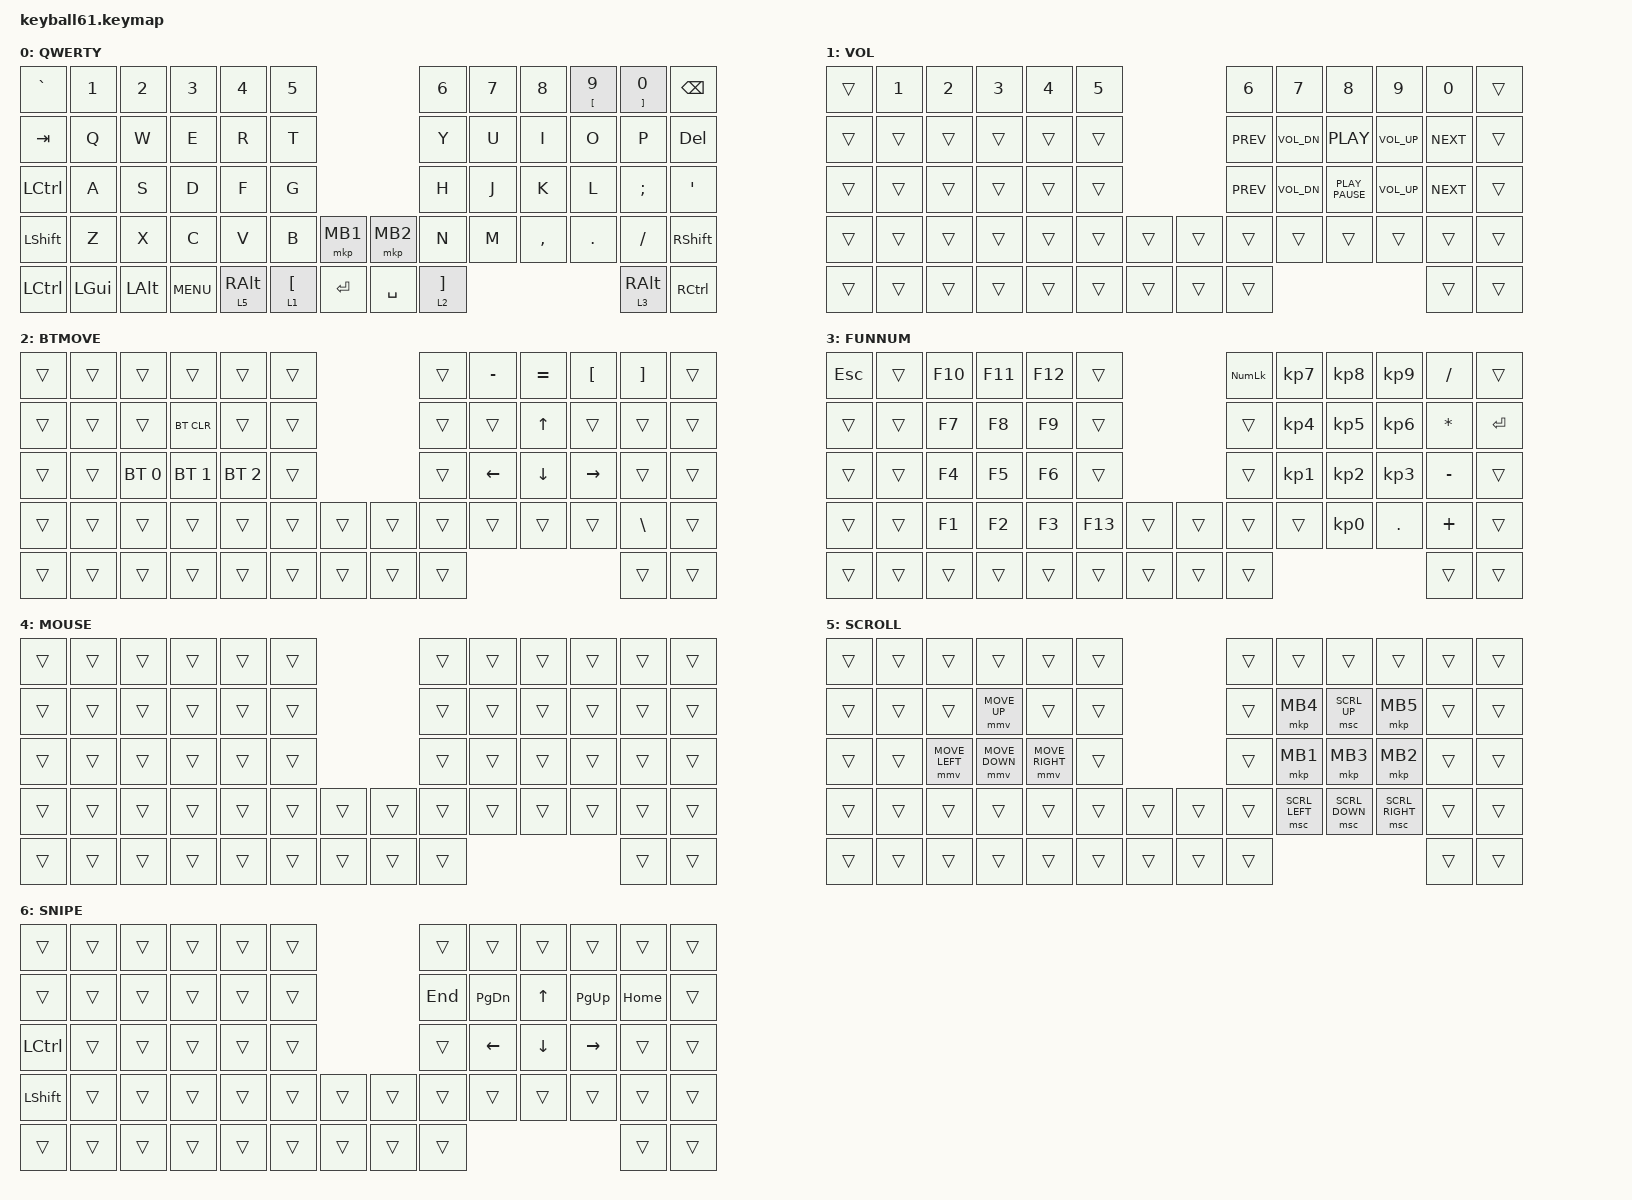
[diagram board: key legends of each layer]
#define DEFAULT 0
#define SYM     1
#define FUN     2
#define MOUSE   3
#define SCROLL  4
#define SNIPE   5

#include <behaviors/mouse_keys.dtsi>
#include <dt-bindings/zmk/mouse.h>
#include <behaviors.dtsi>
#include <dt-bindings/zmk/bt.h>
#include <dt-bindings/zmk/keys.h>
#include <dt-bindings/zmk/pointing.h>

&lt {
    tapping-term-ms = <240>;
    flavor = "balanced";
    quick-tap-ms = <150>;
};

&mt {
    tapping-term-ms = <200>;
    flavor = "tap-preferred";
    quick-tap-ms = <150>;
};

/ {
    keymap {
        compatible = "zmk,keymap";

        Qwerty {
            label = "QWERTY";
            bindings = <
&kp GRAVE       &kp N1        &kp N2        &kp N3      &kp N4           &kp N5                                    &kp N6               &kp N7  &kp N8     &mt LEFT_BRACKET N9  &mt RIGHT_BRACKET N0  &kp BSPC
&kp TAB         &kp Q         &kp W         &kp E       &kp R            &kp T                                     &kp Y                &kp U   &kp I      &kp O                &kp P                 &kp DELETE
&kp LCTRL       &kp A         &kp S         &kp D       &kp F            &kp G                                     &kp H                &kp J   &kp K      &kp L                &kp SEMI              &kp SQT
&kp LEFT_SHIFT  &kp Z         &kp X         &kp C       &kp V            &kp B               &mkp MB1   &mkp MB2   &kp N                &kp M   &kp COMMA  &kp DOT              &kp FSLH              &kp RIGHT_SHIFT
&kp LCTRL       &kp LEFT_GUI  &kp LEFT_ALT  &kp C_MENU  &lt 5 RIGHT_ALT  &lt 1 LEFT_BRACKET  &kp ENTER  &kp SPACE  &lt 2 RIGHT_BRACKET                                          &lt 3 RIGHT_ALT       &kp RCTRL
            >;
        };

        Volume {
            bindings = <
&trans  &kp N1  &kp N2  &kp N3  &kp N4  &kp N5                  &kp N6      &kp N7        &kp N8            &kp N9           &kp N0      &trans
&trans  &trans  &trans  &trans  &trans  &trans                  &kp C_PREV  &kp C_VOL_DN  &kp C_PLAY        &kp C_VOLUME_UP  &kp C_NEXT  &trans
&trans  &trans  &trans  &trans  &trans  &trans                  &kp K_PREV  &kp K_VOL_DN  &kp K_PLAY_PAUSE  &kp K_VOL_UP     &kp K_NEXT  &trans
&trans  &trans  &trans  &trans  &trans  &trans  &trans  &trans  &trans      &trans        &trans            &trans           &trans      &trans
&trans  &trans  &trans  &trans  &trans  &trans  &trans  &trans  &trans                                                       &trans      &trans
            >;

            label = "VOL";
        };

        Bluetooth_Move {
            label = "BTMOVE";
            bindings = <
&trans  &trans  &trans        &trans        &trans        &trans                  &trans  &kp MINUS  &kp EQUAL     &kp LEFT_BRACKET  &kp RIGHT_BRACKET  &trans
&trans  &trans  &trans        &bt BT_CLR    &trans        &trans                  &trans  &trans     &kp UP_ARROW  &trans            &trans             &trans
&trans  &trans  &bt BT_SEL 0  &bt BT_SEL 1  &bt BT_SEL 2  &trans                  &trans  &kp LEFT   &kp DOWN      &kp RIGHT         &trans             &trans
&trans  &trans  &trans        &trans        &trans        &trans  &trans  &trans  &trans  &trans     &trans        &trans            &kp BACKSLASH      &trans
&trans  &trans  &trans        &trans        &trans        &trans  &trans  &trans  &trans                                             &trans             &trans
            >;
        };

        Function_Numpad {
            label = "FUNNUM";
            bindings = <
&kp ESCAPE  &trans  &kp F10  &kp F11  &kp F12  &trans                   &kp KP_NUMLOCK  &kp KP_NUMBER_7  &kp KP_NUMBER_8  &kp KP_NUMBER_9  &kp SLASH     &trans
&trans      &trans  &kp F7   &kp F8   &kp F9   &trans                   &trans          &kp KP_NUMBER_4  &kp KP_NUMBER_5  &kp KP_NUMBER_6  &kp ASTERISK  &kp ENTER
&trans      &trans  &kp F4   &kp F5   &kp F6   &trans                   &trans          &kp KP_NUMBER_1  &kp KP_NUMBER_2  &kp KP_NUMBER_3  &kp MINUS     &trans
&trans      &trans  &kp F1   &kp F2   &kp F3   &kp F13  &trans  &trans  &trans          &trans           &kp KP_NUMBER_0  &kp DOT          &kp PLUS      &trans
&trans      &trans  &trans   &trans   &trans   &trans   &trans  &trans  &trans                                                             &trans        &trans
            >;
        };

        Mouse {
            label = "MOUSE";
            bindings = <
&trans  &trans  &trans  &trans  &trans  &trans                  &trans  &trans  &trans  &trans  &trans  &trans
&trans  &trans  &trans  &trans  &trans  &trans                  &trans  &trans  &trans  &trans  &trans  &trans
&trans  &trans  &trans  &trans  &trans  &trans                  &trans  &trans  &trans  &trans  &trans  &trans
&trans  &trans  &trans  &trans  &trans  &trans  &trans  &trans  &trans  &trans  &trans  &trans  &trans  &trans
&trans  &trans  &trans  &trans  &trans  &trans  &trans  &trans  &trans                          &trans  &trans
            >;
        };

        Scroll_Mouse {
            label = "SCROLL";
            bindings = <
&trans  &trans  &trans          &trans          &trans           &trans                  &trans  &trans          &trans          &trans           &trans  &trans
&trans  &trans  &trans          &mmv MOVE_UP    &trans           &trans                  &trans  &mkp MB4        &msc SCRL_UP    &mkp MB5         &trans  &trans
&trans  &trans  &mmv MOVE_LEFT  &mmv MOVE_DOWN  &mmv MOVE_RIGHT  &trans                  &trans  &mkp MB1        &mkp MB3        &mkp MB2         &trans  &trans
&trans  &trans  &trans          &trans          &trans           &trans  &trans  &trans  &trans  &msc SCRL_LEFT  &msc SCRL_DOWN  &msc SCRL_RIGHT  &trans  &trans
&trans  &trans  &trans          &trans          &trans           &trans  &trans  &trans  &trans                                                   &trans  &trans
            >;
        };

        snipe_layer {
            label = "SNIPE";
            bindings = <
&trans          &trans  &trans  &trans  &trans  &trans                  &trans   &trans         &trans    &trans     &trans    &trans
&trans          &trans  &trans  &trans  &trans  &trans                  &kp END  &kp PAGE_DOWN  &kp UP    &kp PG_UP  &kp HOME  &trans
&kp LCTRL       &trans  &trans  &trans  &trans  &trans                  &trans   &kp LEFT       &kp DOWN  &kp RIGHT  &trans    &trans
&kp LEFT_SHIFT  &trans  &trans  &trans  &trans  &trans  &trans  &trans  &trans   &trans         &trans    &trans     &trans    &trans
&trans          &trans  &trans  &trans  &trans  &trans  &trans  &trans  &trans                                       &trans    &trans
            >;
        };
    };
};
